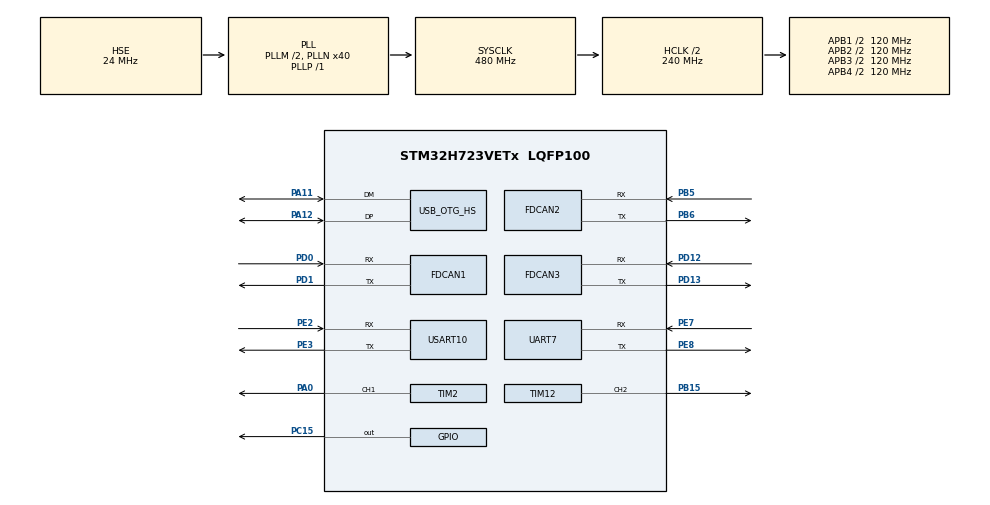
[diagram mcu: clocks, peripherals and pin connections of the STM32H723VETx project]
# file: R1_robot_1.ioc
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CORTEX_M7.AccessPermission_Spec=MPU_REGION_FULL_ACCESS
CORTEX_M7.BaseAddress_Spec=0x24000000
CORTEX_M7.CPU_ICache=Enabled
CORTEX_M7.DisableExec_Spec=MPU_INSTRUCTION_ACCESS_ENABLE
CORTEX_M7.IsBufferable_Spec=MPU_ACCESS_BUFFERABLE
CORTEX_M7.IsCacheable_Spec=MPU_ACCESS_CACHEABLE
CORTEX_M7.MPU_Control=MPU_PRIVILEGED_DEFAULT
CORTEX_M7.Size_Spec=MPU_REGION_SIZE_512KB
CORTEX_M7.SubRegionDisable_Spec=0x00
CORTEX_M7.TypeExtField_Spec=MPU_TEX_LEVEL1
CORTEX_M7.default_mode_Activation=1
Dma.Request0=UART7_RX
Dma.UART7_RX.0.Direction=DMA_PERIPH_TO_MEMORY
Dma.UART7_RX.0.EventEnable=DISABLE
Dma.UART7_RX.0.FIFOMode=DMA_FIFOMODE_DISABLE
Dma.UART7_RX.0.Instance=DMA1_Stream1
Dma.UART7_RX.0.MemDataAlignment=DMA_MDATAALIGN_BYTE
Dma.UART7_RX.0.MemInc=DMA_MINC_ENABLE
Dma.UART7_RX.0.Mode=DMA_CIRCULAR
Dma.UART7_RX.0.PeriphDataAlignment=DMA_PDATAALIGN_BYTE
Dma.UART7_RX.0.PeriphInc=DMA_PINC_DISABLE
Dma.UART7_RX.0.Polarity=HAL_DMAMUX_REQ_GEN_RISING
Dma.UART7_RX.0.Priority=DMA_PRIORITY_HIGH
Dma.UART7_RX.0.RequestNumber=1
Dma.UART7_RX.0.SignalID=NONE
Dma.UART7_RX.0.SyncEnable=DISABLE
Dma.UART7_RX.0.SyncPolarity=HAL_DMAMUX_SYNC_NO_EVENT
Dma.UART7_RX.0.SyncRequestNumber=1
Dma.UART7_RX.0.SyncSignalID=NONE
FDCAN1.AutoRetransmission=ENABLE
FDCAN1.CalculateBaudRateNominal=1000000
FDCAN1.CalculateTimeBitNominal=1000
FDCAN1.CalculateTimeQuantumNominal=25.0
FDCAN1.DataPrescaler=3
FDCAN1.DataSyncJumpWidth=4
FDCAN1.DataTimeSeg1=31
FDCAN1.DataTimeSeg2=8
FDCAN1.NominalPrescaler=3
FDCAN1.NominalSyncJumpWidth=4
FDCAN1.NominalTimeSeg1=31
FDCAN1.NominalTimeSeg2=8
FDCAN1.RxBuffersNbr=4
FDCAN1.RxFifo0ElmtsNbr=4
FDCAN1.StdFiltersNbr=4
FDCAN1.TxFifoQueueElmtsNbr=16
FDCAN2.AutoRetransmission=ENABLE
FDCAN2.CalculateBaudRateNominal=1000000
FDCAN2.CalculateTimeBitNominal=1000
FDCAN2.CalculateTimeQuantumNominal=25.0
FDCAN2.DataPrescaler=3
FDCAN2.DataSyncJumpWidth=4
FDCAN2.DataTimeSeg1=31
FDCAN2.DataTimeSeg2=8
FDCAN2.MessageRAMOffset=0x400
FDCAN2.NominalPrescaler=3
FDCAN2.NominalSyncJumpWidth=4
FDCAN2.NominalTimeSeg1=31
FDCAN2.NominalTimeSeg2=8
FDCAN2.RxBuffersNbr=4
FDCAN2.RxFifo0ElmtsNbr=4
FDCAN2.StdFiltersNbr=4
FDCAN2.TxFifoQueueElmtsNbr=16
FDCAN3.AutoRetransmission=ENABLE
FDCAN3.CalculateBaudRateNominal=1000000
FDCAN3.CalculateTimeBitNominal=1000
FDCAN3.CalculateTimeQuantumNominal=25.0
FDCAN3.DataPrescaler=3
FDCAN3.DataSyncJumpWidth=4
FDCAN3.DataTimeSeg1=31
FDCAN3.DataTimeSeg2=8
FDCAN3.MessageRAMOffset=0x800
FDCAN3.NominalPrescaler=3
FDCAN3.NominalSyncJumpWidth=4
FDCAN3.NominalTimeSeg1=31
FDCAN3.NominalTimeSeg2=8
FDCAN3.RxBuffersNbr=4
FDCAN3.RxFifo0ElmtsNbr=4
FDCAN3.StdFiltersNbr=4
FDCAN3.TxFifoQueueElmtsNbr=16
Mcu.Family=STM32H7
Mcu.Name=STM32H723VETx
Mcu.Package=LQFP100
NVIC.DMA1_Stream1_IRQn=true\:0\:0\:false\:false\:true\:false\:true\:true
NVIC.FDCAN1_IT0_IRQn=true\:0\:0\:false\:false\:true\:true\:true\:true
NVIC.FDCAN1_IT1_IRQn=true\:0\:0\:false\:false\:true\:true\:true\:true
NVIC.FDCAN2_IT0_IRQn=true\:0\:0\:false\:false\:true\:true\:true\:true
NVIC.FDCAN2_IT1_IRQn=true\:0\:0\:false\:false\:true\:true\:true\:true
NVIC.FDCAN3_IT0_IRQn=true\:0\:0\:false\:false\:true\:true\:true\:true
NVIC.FDCAN3_IT1_IRQn=true\:0\:0\:false\:false\:true\:true\:true\:true
NVIC.OTG_HS_IRQn=true\:0\:0\:false\:false\:true\:false\:true\:true
NVIC.PriorityGroup=NVIC_PRIORITYGROUP_4
NVIC.TIM5_IRQn=true\:0\:0\:false\:false\:true\:true\:true\:true
NVIC.UART7_IRQn=true\:0\:0\:false\:false\:true\:true\:true\:true
NVIC.USART10_IRQn=true\:0\:0\:false\:false\:true\:true\:true\:true
PA0.Signal=S_TIM2_CH1_ETR
PA11.Mode=Device_Only_FS
PA11.Signal=USB_OTG_HS_DM
PA12.Mode=Device_Only_FS
PA12.Signal=USB_OTG_HS_DP
PA13(JTMS/SWDIO).Mode=Serial_Wire
PA13(JTMS/SWDIO).Signal=DEBUG_JTMS-SWDIO
PA14(JTCK/SWCLK).Mode=Serial_Wire
PA14(JTCK/SWCLK).Signal=DEBUG_JTCK-SWCLK
PB15.GPIO_PuPd=GPIO_PULLUP
PB15.Signal=S_TIM12_CH2
PB5.GPIO_PuPd=GPIO_PULLUP
PB5.Mode=FDCAN_Activate
PB5.Signal=FDCAN2_RX
PB6.GPIO_PuPd=GPIO_PULLUP
PB6.Mode=FDCAN_Activate
PB6.Signal=FDCAN2_TX
PC15-OSC32_OUT.GPIO_PuPd=GPIO_PULLUP
PC15-OSC32_OUT.Signal=GPIO_Output
PD0.GPIO_PuPd=GPIO_PULLUP
PD0.Mode=FDCAN_Activate
PD0.Signal=FDCAN1_RX
PD1.GPIO_PuPd=GPIO_PULLUP
PD1.Mode=FDCAN_Activate
PD1.Signal=FDCAN1_TX
PD12.GPIO_PuPd=GPIO_PULLUP
PD12.Mode=FDCAN_Activate
PD12.Signal=FDCAN3_RX
PD13.GPIO_PuPd=GPIO_PULLUP
PD13.Mode=FDCAN_Activate
PD13.Signal=FDCAN3_TX
PE2.Mode=Asynchronous
PE2.Signal=USART10_RX
PE3.Mode=Asynchronous
PE3.Signal=USART10_TX
PE7.GPIO_PuPd=GPIO_PULLUP
PE7.Mode=Asynchronous
PE7.Signal=UART7_RX
PE8.GPIO_PuPd=GPIO_PULLUP
PE8.Mode=Asynchronous
PE8.Signal=UART7_TX
PH0-OSC_IN.Mode=HSE-External-Oscillator
PH0-OSC_IN.Signal=RCC_OSC_IN
PH1-OSC_OUT.Mode=HSE-External-Oscillator
PH1-OSC_OUT.Signal=RCC_OSC_OUT
ProjectManager.HeapSize=0x200
ProjectManager.StackSize=0x4000
ProjectManager.TargetToolchain=CMake
RCC.ADCFreq_Value=48375000
RCC.APB1Freq_Value=120000000
RCC.APB2Freq_Value=120000000
RCC.APB3Freq_Value=120000000
RCC.APB4Freq_Value=120000000
RCC.CortexFreq_Value=480000000
RCC.D1PPRE=RCC_APB3_DIV2
RCC.D2PPRE1=RCC_APB1_DIV2
RCC.D2PPRE2=RCC_APB2_DIV2
RCC.D3PPRE=RCC_APB4_DIV2
RCC.DIVM1=2
RCC.DIVN1=40
RCC.DIVP1=1
RCC.DIVQ1=4
RCC.HCLKFreq_Value=240000000
RCC.HPRE=RCC_HCLK_DIV2
RCC.HSE_VALUE=24000000
RCC.PLLFRACN=0
RCC.PLLSourceVirtual=RCC_PLLSOURCE_HSE
RCC.SYSCLKFreq_VALUE=480000000
RCC.SYSCLKSource=RCC_SYSCLKSOURCE_PLLCLK
RCC.USBCLockSelection=RCC_USBCLKSOURCE_HSI48
RCC.USBFreq_Value=48000000
SH.S_TIM12_CH2.0=TIM12_CH2,PWM Generation2 CH2
SH.S_TIM2_CH1_ETR.0=TIM2_CH1,PWM Generation1 CH1
STMicroelectronics.X-CUBE-ALGOBUILD.1.4.0.LibraryCcDSPOoLibraryJjDSPOoLibrary=true
TIM12.AutoReloadPreload=TIM_AUTORELOAD_PRELOAD_ENABLE
TIM12.Channel-PWM\ Generation2\ CH2=TIM_CHANNEL_2
TIM12.Period=250-1
TIM12.Prescaler=240-1
TIM12.Pulse-PWM\ Generation2\ CH2=125
TIM2.Channel-PWM\ Generation1\ CH1=TIM_CHANNEL_1
TIM5.Period=1000-1
TIM5.Prescaler=240-1
USART10.VirtualMode=VM_ASYNC
USB_DEVICE.CLASS_NAME_HS=CDC
USB_DEVICE.VirtualMode=Cdc
USB_DEVICE.VirtualModeHS=Cdc_HS
USB_OTG_HS.VirtualMode-Device_Only_FS=Device_Only_FS
VP_MEMORYMAP_VS_MEMORYMAP.Mode=CurAppReg
VP_STMicroelectronics.X-CUBE-ALGOBUILD_VS_DSPOoLibraryJjLibrary_1.4.0_1.4.0.Mode=DSPOoLibraryJjLibrary
VP_TIM12_VS_ClockSourceINT.Mode=Internal
VP_TIM5_VS_ClockSourceINT.Mode=Internal
VP_USB_DEVICE_VS_USB_DEVICE_CDC_HS.Mode=CDC_HS
board=custom

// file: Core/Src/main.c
/* USER CODE BEGIN Header */
/**
 ******************************************************************************
 * @file           : main.c
 * @brief          : Main program body
 ******************************************************************************
 * @attention
 *
 * Copyright (c) 2026 STMicroelectronics.
 * All rights reserved.
 *
 * This software is licensed under terms that can be found in the LICENSE file
 * in the root directory of this software component.
 * If no LICENSE file comes with this software, it is provided AS-IS.
 *
 ******************************************************************************
 */
/* USER CODE END Header */
#include "main.h"

#include "dma.h"
#include "fdcan.h"
#include "gpio.h"
#include "tim.h"
#include "usart.h"
#include "usb_device.h"

/* USER CODE BEGIN Includes */
#include <string.h>

#include "core_cm7.h"
#include "task.h"
/* USER CODE END Includes */

/* USER CODE BEGIN PTD */
int __io_putchar(int ch) { return ch; }
/* USER CODE END PTD */

void SystemClock_Config(void);
static void MPU_Config(void);

int main(void) {
  /* USER CODE BEGIN 1 */
  SCnSCB->ACTLR |= (1UL << 1);
  // __DSB();
  // __ISB();

  SCB->CPACR |= (0xF << 20);
  __DSB();
  __ISB();

  extern uint8_t __ram_d1_start;
  extern uint8_t __ram_d1_end;
  // memset(&__ram_d1_start, 0, &__ram_d1_end - &__ram_d1_start);

  uint32_t start_addr = (uint32_t)&__ram_d1_start;
  uint32_t end_addr = (uint32_t)&__ram_d1_end;

  if (end_addr > start_addr) {
    memset((void*)start_addr, 0, end_addr - start_addr);
  }
  /* USER CODE END 1 */

  /* MPU Configuration--------------------------------------------------------*/
  MPU_Config();

  /* Enable the CPU Cache */

  /* Enable I-Cache---------------------------------------------------------*/
  SCB_EnableICache();

  /* MCU Configuration--------------------------------------------------------*/

  /* Reset of all peripherals, Initializes the Flash interface and the Systick.
   */
  HAL_Init();

  /* USER CODE BEGIN Init */

  // __disable_irq();

  /* USER CODE END Init */

  /* Configure the system clock */
  SystemClock_Config();

  /* USER CODE BEGIN SysInit */
  HAL_Delay(2);

  /* USER CODE END SysInit */

  /* Initialize all configured peripherals */
  MX_GPIO_Init();
  MX_DMA_Init();
  MX_FDCAN1_Init();
  MX_FDCAN2_Init();
  MX_FDCAN3_Init();
  MX_TIM5_Init();
  MX_TIM12_Init();
  MX_USB_DEVICE_Init();
  MX_UART7_Init();
  MX_USART10_UART_Init();
  MX_TIM2_Init();
  /* USER CODE BEGIN 2 */
  HAL_Delay(20);
  Init_Task();
  HAL_GPIO_WritePin(GPIOC, GPIO_PIN_15, GPIO_PIN_SET);

  /* USER CODE END 2 */

  /* Infinite loop */
  /* USER CODE BEGIN WHILE */
  while (1) {
    Start_Task();
    /* USER CODE END WHILE */

  }
}

void SystemClock_Config(void) {
  RCC_OscInitTypeDef RCC_OscInitStruct = {0};
  RCC_ClkInitTypeDef RCC_ClkInitStruct = {0};

  /** Supply configuration update enable
   */
  HAL_PWREx_ConfigSupply(PWR_LDO_SUPPLY);

  /** Configure the main internal regulator output voltage
   */
  __HAL_PWR_VOLTAGESCALING_CONFIG(PWR_REGULATOR_VOLTAGE_SCALE0);

  while (!__HAL_PWR_GET_FLAG(PWR_FLAG_VOSRDY)) {
  }

  /** Initializes the RCC Oscillators according to the specified parameters
   * in the RCC_OscInitTypeDef structure.
   */
  RCC_OscInitStruct.OscillatorType =
      RCC_OSCILLATORTYPE_HSI48 | RCC_OSCILLATORTYPE_HSE;
  RCC_OscInitStruct.HSEState = RCC_HSE_ON;
  RCC_OscInitStruct.HSI48State = RCC_HSI48_ON;
  RCC_OscInitStruct.PLL.PLLState = RCC_PLL_ON;
  RCC_OscInitStruct.PLL.PLLSource = RCC_PLLSOURCE_HSE;
  RCC_OscInitStruct.PLL.PLLM = 2;
  RCC_OscInitStruct.PLL.PLLN = 40;
  RCC_OscInitStruct.PLL.PLLP = 1;
  RCC_OscInitStruct.PLL.PLLQ = 4;
  RCC_OscInitStruct.PLL.PLLR = 2;
  RCC_OscInitStruct.PLL.PLLRGE = RCC_PLL1VCIRANGE_3;
  RCC_OscInitStruct.PLL.PLLVCOSEL = RCC_PLL1VCOWIDE;
  RCC_OscInitStruct.PLL.PLLFRACN = 0;
  if (HAL_RCC_OscConfig(&RCC_OscInitStruct) != HAL_OK) {
    Error_Handler();
  }

  /** Initializes the CPU, AHB and APB buses clocks
   */
  RCC_ClkInitStruct.ClockType = RCC_CLOCKTYPE_HCLK | RCC_CLOCKTYPE_SYSCLK |
                                RCC_CLOCKTYPE_PCLK1 | RCC_CLOCKTYPE_PCLK2 |
                                RCC_CLOCKTYPE_D3PCLK1 | RCC_CLOCKTYPE_D1PCLK1;
  RCC_ClkInitStruct.SYSCLKSource = RCC_SYSCLKSOURCE_PLLCLK;
  RCC_ClkInitStruct.SYSCLKDivider = RCC_SYSCLK_DIV1;
  RCC_ClkInitStruct.AHBCLKDivider = RCC_HCLK_DIV2;
  RCC_ClkInitStruct.APB3CLKDivider = RCC_APB3_DIV2;
  RCC_ClkInitStruct.APB1CLKDivider = RCC_APB1_DIV2;
  RCC_ClkInitStruct.APB2CLKDivider = RCC_APB2_DIV2;
  RCC_ClkInitStruct.APB4CLKDivider = RCC_APB4_DIV2;

  if (HAL_RCC_ClockConfig(&RCC_ClkInitStruct, FLASH_LATENCY_3) != HAL_OK) {
    Error_Handler();
  }
}

/* MPU Configuration */

void MPU_Config(void) {
  MPU_Region_InitTypeDef MPU_InitStruct = {0};

  /* Disables the MPU */
  HAL_MPU_Disable();

  /** Initializes and configures the Region and the memory to be protected
   */
  MPU_InitStruct.Enable = MPU_REGION_ENABLE;
  MPU_InitStruct.Number = MPU_REGION_NUMBER0;
  MPU_InitStruct.BaseAddress = 0x24000000;
  MPU_InitStruct.Size = MPU_REGION_SIZE_512KB;
  MPU_InitStruct.SubRegionDisable = 0x00;
  MPU_InitStruct.TypeExtField = MPU_TEX_LEVEL1;
  MPU_InitStruct.AccessPermission = MPU_REGION_FULL_ACCESS;
  MPU_InitStruct.DisableExec = MPU_INSTRUCTION_ACCESS_ENABLE;
  MPU_InitStruct.IsShareable = MPU_ACCESS_SHAREABLE;
  MPU_InitStruct.IsCacheable = MPU_ACCESS_CACHEABLE;
  MPU_InitStruct.IsBufferable = MPU_ACCESS_BUFFERABLE;

  HAL_MPU_ConfigRegion(&MPU_InitStruct);
  /* Enables the MPU */
  HAL_MPU_Enable(MPU_PRIVILEGED_DEFAULT);
}

void Error_Handler(void) {
  __disable_irq();
  while (1) {
  }
}
#ifdef USE_FULL_ASSERT
/**
 * @brief  Reports the name of the source file and the source line number
 *         where the assert_param error has occurred.
 * @param  file: pointer to the source file name
 * @param  line: assert_param error line source number
 * @retval None
 */
void assert_failed(uint8_t* file, uint32_t line) {
  /* USER CODE BEGIN 6 */
  /* User can add his own implementation to report the file name and line
     number, ex: printf("Wrong parameters value: file %s on line %d\r\n", file,
     line) */
  /* USER CODE END 6 */
}
#endif /* USE_FULL_ASSERT */
